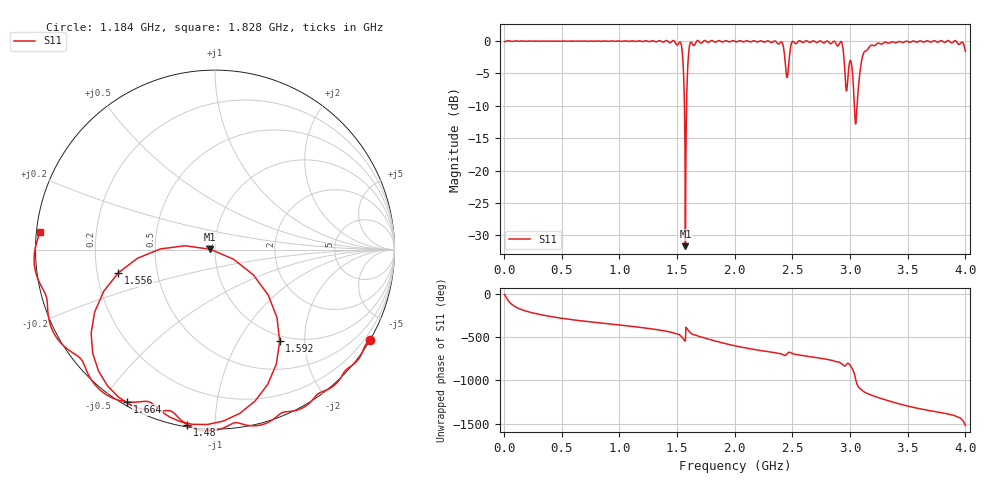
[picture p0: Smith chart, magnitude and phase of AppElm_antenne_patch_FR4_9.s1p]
! TOUCHSTONE file generated by CST MICROWAVE STUDIO
! Date and time: Tue Jun  7 20:51:59 2022
! Project name: AppElm_antenne_patch_FR4.cst
! Parameters = {L=45; W=58.5; e=0.035; h=1.6; lambda=0.190476; ls=120; w0=1.6; w1=0.533333; ws=120; y0=20; y1=27.38}
! Header version: 2018
! Port assignment regex: !\s*Touchstone port\s*([0-9]+)\s*=\s*(CST MWS port|CST DS port)\s*([0-9]+|Zmin|Zmax)\s*\(\"(.*)\"\)(\s*mode\s*([0-9]+))?.*
! Touchstone port assignment:
! Touchstone port 1 = CST MWS port 1 ("")
# GHz S MA R 50
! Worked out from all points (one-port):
!   1000 points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, 4 MHz to 4 GHz, reference 50 ohm
!   lowest |S11| = -31.7 dB at 1.572 GHz (marker M1), VSWR 1.05, Z = 47.5 + j0.175 ohm
!   |S11| at or under -10 dB: 1.564 GHz to 1.582 GHz (18.48 MHz wide, 1.17 % of centre); 3.037 GHz to 3.061 GHz (23.55 MHz wide, 0.773 % of centre)
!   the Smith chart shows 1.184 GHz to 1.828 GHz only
!   S11 on the Smith chart (normalised r, x): 1.184 GHz: 0.01, -3.71; 1.48 GHz: 0.01, -0.85; 1.556 GHz: 0.29, -0.11; 1.592 GHz: 0.91, -1.52; 1.664 GHz: 0.01, -0.58; 1.828 GHz: 0.01, +0.05
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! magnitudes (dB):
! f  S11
! 4 MHz  -0.1
! 504 MHz  0.0
! 1.004 GHz  0.0
! 1.184 GHz  0.0
! 1.48 GHz  -0.1
! 1.504 GHz  -0.6
! 1.54 GHz  -1.0
! 1.548 GHz  -2.4
! 1.556 GHz  -5.1
! 1.572 GHz  -31.7
! 1.584 GHz  -8.2
! 1.592 GHz  -4.1
! 1.6 GHz  -1.9
! 1.612 GHz  -0.4
! 1.664 GHz  -0.2
! 1.828 GHz  -0.2
! 2.004 GHz  -0.1
! 2.4 GHz  -0.2
! 2.452 GHz  -5.6
! 2.504 GHz  0.0
! 2.916 GHz  -0.1
! 2.968 GHz  -7.7
! 3.004 GHz  -3.0
! 3.052 GHz  -12.4
! 3.096 GHz  -3.5
! 3.132 GHz  -1.5
! 3.504 GHz  -0.1
! 4 GHz  -1.6
